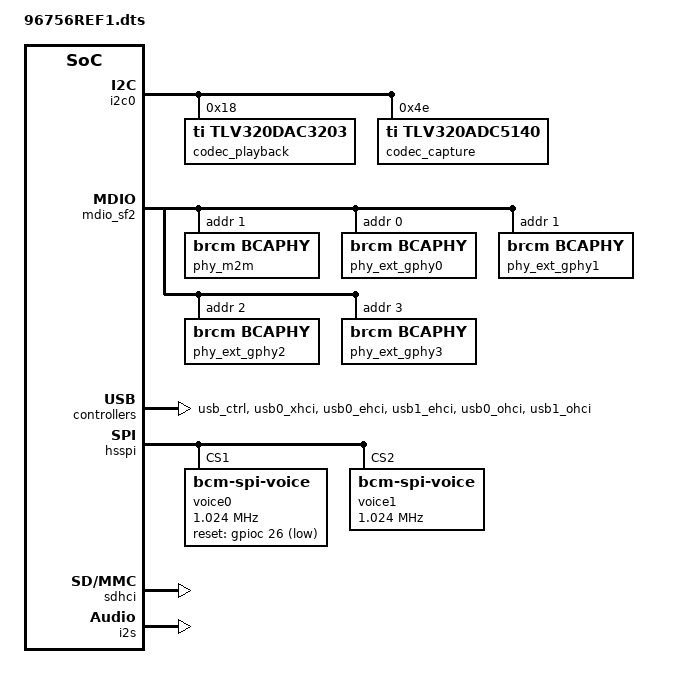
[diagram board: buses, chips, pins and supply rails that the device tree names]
#include "6756.dtsi"
#include "../bcm_voice.dtsi"

/ {
	memory_controller {
		memcfg = <(
			/* CUSTOM speed 1026MHz */
			BP_DDR_SPEED_CUSTOM_1      | \
			BP_DDR_TOTAL_SIZE_512MB    | \
			BP_DDR_DEVICE_WIDTH_16     | \
			BP_DDR_TOTAL_WIDTH_16BIT   | \
			BP_DDR_6756_DEFAULT          | \
			BP_DDR_CONFIG_DEBUG)>;
	};

	buttons {
		compatible = "brcm,buttons";
		ses_button {
			ext_irq = <&bca_extintr 4 GPIO_ACTIVE_LOW (BCA_EXTINTR_TYPE_LOW_LEVEL | BCA_EXTINTR_TYPE_SENSE_EDGE)>;
			release {
				ses_short_period = <0>;
				ses_long_period = <3>;
			};
		};
	};

	switch_sf2_ext:0 {
	};

};

&sysport {
    ethsw_ext = <&switch_sf2_ext>;
};

&i2c0 {
	pinctrl-names="default";
	pinctrl-0 = <&i2c_sda_pin_16 &i2c_scl_pin_17>;
	status = "okay";
	
	#address-cells = <1>;
	#size-cells = <0>;
	codec_playback:codec_palyback@18{
		compatible = "ti,tlv320dac3203";
		reg = <0x18>;
	};
	codec_capture:codec_capture@4e{
		compatible = "ti,tlv320adc5140";
		reg = <0x4e>;
	};
};

&mdio_sf2 {
   /* Port PHY mapping:
        port_imp -8#0- port_gphy <---> phy_gphy
                  ##1- port_rgmii <--> phy_m2m <--> port_ext_imp -8#0- port_ext_gphy0 <--> phy_ext_gphy0
                                                                  # 1- port_ext_gphy1 <--> phy_ext_gphy1
                                                                  # 2- port_ext_gphy2 <--> phy_ext_gphy2
                                                                  ##3- port_ext_gphy3 <--> phy_ext_gphy3
     */
	phy_gphy {
		status = "okay";
	};

	phy_m2m:phy_m2m {
		compatible = "brcm,bcaphy";
		phy-type = "MAC2MAC";
		reg = <1>;
		status = "okay";
		phy-extswitch;
	};

	/* PHYs on external SF2 switch */
	phy_ext_gphy0:phy_ext_gphy0 {
		compatible = "brcm,bcaphy";
		phy-type = "EGPHY";
		reg = <0>;
		status = "okay";
	};
	phy_ext_gphy1:phy_ext_gphy1 {
		compatible = "brcm,bcaphy";
		phy-type = "EGPHY";
		reg = <1>;
		status = "okay";
	};
	phy_ext_gphy2:phy_ext_gphy2 {
		compatible = "brcm,bcaphy";
		phy-type = "EGPHY";
		reg = <2>;
		status = "okay";
	};
	phy_ext_gphy3:phy_ext_gphy3 {
		compatible = "brcm,bcaphy";
		phy-type = "EGPHY";
		reg = <3>;
		status = "okay";
	};
};


&switch_sf2_ext {                       /* linux/uboot: external sf2 */
	unit = <1>;
	sw-type = "SF2_SW";

	compatible = "brcm,bcmbca-extsw";
	reg-names ="parent-rgmii-ctrl",
	           "parent-gpio-pad-ctrl";
	reg = <0x804800ec 0x44>,
	      <0xff800500 0x78>;
	switch-reset = <&gpioc 10 GPIO_ACTIVE_LOW>;

	ports {
		#address-cells = <1>;
		#size-cells = <0>;

		port_ext_gphy0 {
			phy-handle = <&phy_ext_gphy0>;
			reg = <0>;
			mac-type = "SF2MAC";
			phy-mode = "gmii";
			gmii-direct;
			status = "okay";
		};
		port_ext_gphy1 {
			phy-handle = <&phy_ext_gphy1>;
			reg = <1>;
			mac-type = "SF2MAC";
			phy-mode = "gmii";
			gmii-direct;
			status = "okay";
		};
		port_ext_gphy2 {
			phy-handle = <&phy_ext_gphy2>;
			reg = <2>;
			mac-type = "SF2MAC";
			phy-mode = "gmii";
			gmii-direct;
			status = "okay";
		};
		port_ext_gphy3 {
			phy-handle = <&phy_ext_gphy3>;
			reg = <3>;
			mac-type = "SF2MAC";
			phy-mode = "gmii";
			gmii-direct;
			status = "okay";
		};
		port_ext_imp {
			management;                     /* sf2_ext.p8 <--> root.p1 */
			reg = <8>;
			mac-type = "SF2MAC";
			shrink-ipg;
			phy-mode = "gmii";
			gmii-direct;
			status = "okay";
		};
	};
};

&switch0 {                              /* linux/uboot: internal sf2 */
	pinctrl-names = "default", "rgmii"; 
	pinctrl-0 = <&a_rgmii_mdc_pin_68 &a_rgmii_mdio_pin_69 &rgmii_pins>; 
	pinctrl-1 = <&rgmii_pins>; 

	ports {
		port_gphy {
			phy-handle = <&phy_gphy>;
			network-leds=<&led0 &led1>;
			status = "okay";
		};
		port_rgmii {
			phy-handle = <&phy_m2m>;
			mii-pinctrl-state = "rgmii";
			phy-mode = "rgmii";
			rgmii-3p3v;
			rx-delay;
			tx-delay;
			link = <&switch_sf2_ext>;           /* root.p1 <--> sf2_ext.p8 */
			shrink-ipg;
			status = "okay";
		};
	};
};

&usb_ctrl {
	pinctrl-names="default";
	pinctrl-0 = <&usb0_pwr_pins &usb1_pwr_pins>;
	pwron-bias-pull-up;
	status = "okay";
	xhci-enable;
};

&usb0_xhci {
	status = "okay";
};

&usb0_ehci {
	status = "okay";
};

&usb1_ehci {
	status = "okay";
};

&usb0_ohci {
	status = "okay";
};

&usb1_ohci {
	status = "okay";
};

&legacy_leds {
	wl-sess-led = <&led2>;
	wl0-led = <&led4>;
	wl1-led = <&led3>;
};
&led_ctrl {
	led0: port_0-led-0 {
		active_low;
		link = <(LED_SPEED_100|LED_SPEED_1G)>;
		pinctrl-0=<&a_per_led_00_pin_0>;
		status = "okay";
	};
	led1: port_0-led-2 {
		active_low;
		activity = <LED_SPEED_GBE>;
		pinctrl-0=<&a_per_led_03_pin_3>;
		status = "okay";
	};
	led2: sw_led_01 {
		active_low;
		pinctrl-0=<&a_per_led_01_pin_1>;
		status = "okay";
	};
	led3:led_gpio_7 {
		compatible = "brcm,gpio-led";
		software_led;
		pin = <7>;
		active_low;
	};
	led4:led_gpio_36 {
		compatible = "brcm,gpio-led";
		software_led;
		pin = <36>;
		active_low;
	};
};

&bcm_voice{
	sliclist = SLICSLAC_LIST_COMMON_NOFXO;
};

&hsspi {
	voice0 {
		pinctrl-0 = <&spim_ss1_b_pin_76>;
		pinctrl-names = "default";
		compatible = "bcm-spi-voice";
		reg = <1>; /* chip select 1 */
		spi-max-frequency = <1024000>;
		reset-gpio = <&gpioc 26 GPIO_ACTIVE_LOW>;
		spi-index = <0>;/* voice header index */
	};
	voice1 {
		pinctrl-0 = <&spim_ss2_b_pin_10>;
		pinctrl-names = "default";
		compatible = "bcm-spi-voice";
		reg = <2>; /* chip select 2 */
		spi-max-frequency = <1024000>;
		/*reset-gpio = NA*/
		spi-index = <1>;/* voice header index */
	};
};

&sdhci {
	pinctrl-names="default";
	pinctrl-0 = <&emmc_ctrl_pins>;
	status = "okay";
};

/* RX lrclk and sclk are from voice header, voice would not work if audio enabled or vice versa*/
&i2s {
			pinctrl-0 = <&i2s_tx_sclk_pin_11 &i2s_tx_lrck_pin_12 &i2s_tx_sdata_pin_15 &i2s_tx_mclk_pin_14 &i2s_rx_sclk_pin_22 &i2s_rx_lrck_pin_23 &i2s_rx_sdata_pin_13 &i2s_rx_mclk_pin_24>;
			pinctrl-names = "default";
			status = "okay";
};
